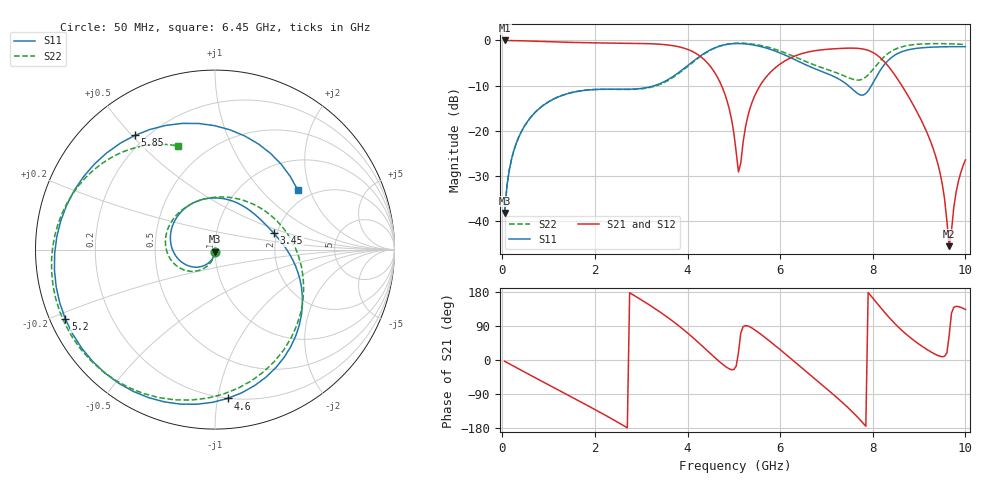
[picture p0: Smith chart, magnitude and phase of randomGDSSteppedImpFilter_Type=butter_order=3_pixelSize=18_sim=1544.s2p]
! freq	dB(S11)	phase(S11)	dB(S12)	phase(S12)
!  dB(S21)	phase(S21)	dB(S22)	phase(S22)
!S-par simulation data
#  GHz  S  DB  R 50
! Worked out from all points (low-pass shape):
!   200 points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, 50 MHz to 10 GHz, reference 50 ohm
!   highest |S21| = -0.01 dB at 50 MHz (marker M1); lowest = -45.5 dB at 9.65 GHz (marker M2)
!   |S21| within 3 dB of the highest: start of sweep to 4.203 GHz; 6.44 GHz to 8.057 GHz (1.617 GHz wide, 22.3 % of centre)
!   lowest |S11| = -38.2 dB at 50 MHz (marker M3), VSWR 1.02, Z = 49.9 - j1.23 ohm
!   |S11| at or under -10 dB: start of sweep to 3.291 GHz; 7.472 GHz to 7.971 GHz (498.9 MHz wide, 6.46 % of centre)
!   |S22| runs from -38.2 to -0.6 dB; largest |S21 - S12| = 0
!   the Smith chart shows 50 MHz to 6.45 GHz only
!   S11 on the Smith chart (normalised r, x): 50 MHz: 1.00, -0.02; 3.45 GHz: 1.92, +0.40; 4.6 GHz: 0.20, -1.07; 5.2 GHz: 0.04, -0.22; 5.85 GHz: 0.16, +0.51; 6.45 GHz: 1.68, +1.66
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0.05  -38.19 -92.4  -0.01 -3.4  -0.01 -3.4  -38.18 -91.6
0.2  -26.26 -104.8  -0.03 -13.3  -0.03 -13.3  -26.24 -101.6
0.5  -18.62 -127.5  -0.11 -33.1  -0.11 -33.1  -18.60 -119.5
1.75  -11.09 139.3  -0.50 -114.2  -0.50 -114.2  -11.07 171.1
2.65  -10.82 70.0  -0.61 -175.4  -0.61 -175.4  -10.85 118.4
3.4  -9.59 18.7  -0.85 127.1  -0.85 127.1  -9.76 53.9
3.45  -9.37 15.6  -0.88 122.9  -0.88 122.9  -9.55 48.4
4.1  -4.79 -32.3  -2.42 60.8  -2.42 60.8  -4.94 -30.1
4.6  -1.59 -85.1  -7.33 5.2  -7.33 5.2  -1.63 -92.9
5.05  -0.69 -137.6  -24.66 -16.3  -24.66 -16.3  -0.62 -143.4
5.2  -0.73 -155.1  -22.53 87.8  -22.53 87.8  -0.62 -158.2
5.85  -2.19 125.0  -6.46 42.3  -6.46 42.3  -1.83 147.1
6.45  -4.91 36.0  -2.97 -18.9  -2.97 -18.9  -4.23 109.9
6.7  -6.06 -5.5  -2.37 -44.7  -2.37 -44.7  -5.28 98.6
7.2  -8.18 -91.3  -1.83 -96.5  -1.83 -96.5  -7.11 80.6
7.75  -12.12 136.4  -1.84 -161.1  -1.84 -161.1  -8.68 79.6
8  -9.47 47.7  -2.66 163.5  -2.66 163.5  -6.48 83.2
8.35  -4.25 -35.5  -5.91 112.6  -5.91 112.6  -2.75 63.0
8.75  -2.12 -95.7  -12.06 65.1  -12.06 65.1  -1.13 30.2
9.3  -1.48 -151.6  -23.82 18.3  -23.82 18.3  -0.72 -8.6
9.65  -1.39 179.5  -45.55 64.9  -45.55 64.9  -0.75 -30.6
10  -1.38 152.8  -26.45 133.4  -26.45 133.4  -0.91 -52.0
